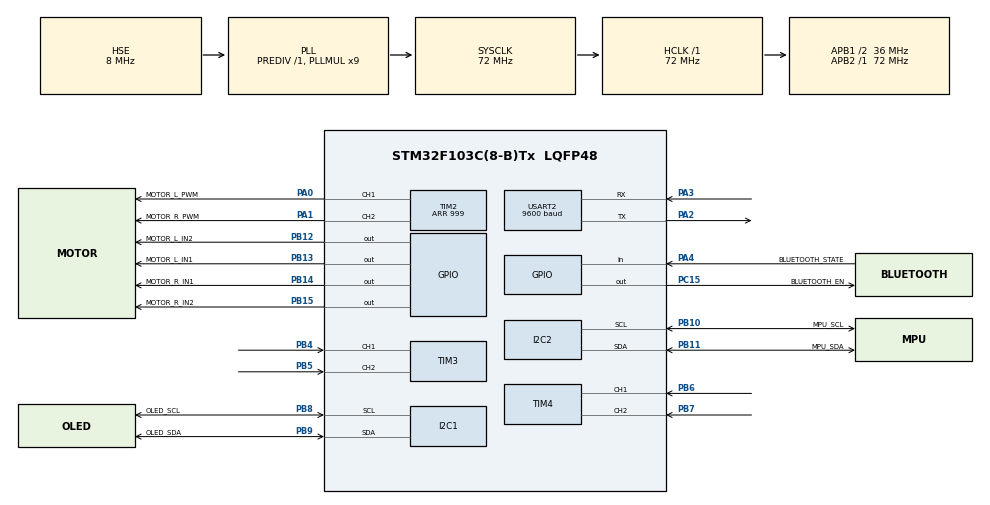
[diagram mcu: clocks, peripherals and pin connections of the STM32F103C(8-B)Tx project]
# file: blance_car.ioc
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I2C1.I2C_Mode=I2C_Fast
I2C2.I2C_Mode=I2C_Fast
Mcu.Family=STM32F1
Mcu.Name=STM32F103C(8-B)Tx
Mcu.Package=LQFP48
NVIC.PriorityGroup=NVIC_PRIORITYGROUP_4
NVIC.TIM1_UP_IRQn=true\:2\:0\:true\:false\:true\:true\:true\:true
NVIC.USART2_IRQn=true\:0\:0\:false\:false\:true\:true\:true\:true
PA0-WKUP.GPIO_Label=MOTOR_L_PWM
PA0-WKUP.Signal=S_TIM2_CH1_ETR
PA1.GPIO_Label=MOTOR_R_PWM
PA1.Signal=S_TIM2_CH2
PA13.Mode=Serial_Wire
PA13.Signal=SYS_JTMS-SWDIO
PA14.Mode=Serial_Wire
PA14.Signal=SYS_JTCK-SWCLK
PA2.Mode=Asynchronous
PA2.Signal=USART2_TX
PA3.Mode=Asynchronous
PA3.Signal=USART2_RX
PA4.GPIO_Label=BLUETOOTH_STATE
PA4.Signal=GPIO_Input
PB10.GPIO_Label=MPU_SCL
PB10.Mode=I2C
PB10.Signal=I2C2_SCL
PB11.GPIO_Label=MPU_SDA
PB11.Mode=I2C
PB11.Signal=I2C2_SDA
PB12.GPIO_Label=MOTOR_L_IN2
PB12.Signal=GPIO_Output
PB13.GPIO_Label=MOTOR_L_IN1
PB13.Signal=GPIO_Output
PB14.GPIO_Label=MOTOR_R_IN1
PB14.Signal=GPIO_Output
PB15.GPIO_Label=MOTOR_R_IN2
PB15.Signal=GPIO_Output
PB4.Signal=S_TIM3_CH1
PB5.Signal=S_TIM3_CH2
PB6.Signal=S_TIM4_CH1
PB7.Signal=S_TIM4_CH2
PB8.GPIO_Label=OLED_SCL
PB8.Mode=I2C
PB8.Signal=I2C1_SCL
PB9.GPIO_Label=OLED_SDA
PB9.Mode=I2C
PB9.Signal=I2C1_SDA
PC15-OSC32_OUT.GPIO_Label=BLUETOOTH_EN
PC15-OSC32_OUT.Signal=GPIO_Output
PD0-OSC_IN.Mode=HSE-External-Oscillator
PD0-OSC_IN.Signal=RCC_OSC_IN
PD1-OSC_OUT.Mode=HSE-External-Oscillator
PD1-OSC_OUT.Signal=RCC_OSC_OUT
ProjectManager.HeapSize=0x200
ProjectManager.StackSize=0x400
ProjectManager.TargetToolchain=CMake
RCC.AHBFreq_Value=72000000
RCC.APB1CLKDivider=RCC_HCLK_DIV2
RCC.APB1Freq_Value=36000000
RCC.APB1TimFreq_Value=72000000
RCC.APB2Freq_Value=72000000
RCC.APB2TimFreq_Value=72000000
RCC.HCLKFreq_Value=72000000
RCC.PLLMUL=RCC_PLL_MUL9
RCC.PLLSourceVirtual=RCC_PLLSOURCE_HSE
RCC.SYSCLKFreq_VALUE=72000000
RCC.SYSCLKSource=RCC_SYSCLKSOURCE_PLLCLK
RCC.USBFreq_Value=72000000
SH.S_TIM2_CH1_ETR.0=TIM2_CH1,PWM Generation1 CH1
SH.S_TIM2_CH2.0=TIM2_CH2,PWM Generation2 CH2
SH.S_TIM3_CH1.0=TIM3_CH1,Encoder_Interface
SH.S_TIM3_CH2.0=TIM3_CH2,Encoder_Interface
SH.S_TIM4_CH1.0=TIM4_CH1,Encoder_Interface
SH.S_TIM4_CH2.0=TIM4_CH2,Encoder_Interface
TIM1.Period=4999
TIM1.Prescaler=71
TIM2.Channel-PWM\ Generation1\ CH1=TIM_CHANNEL_1
TIM2.Channel-PWM\ Generation2\ CH2=TIM_CHANNEL_2
TIM2.OC2Preload_PWM=ENABLE
TIM2.OCFastMode_PWM-PWM\ Generation1\ CH1=TIM_OCFAST_DISABLE
TIM2.Period=999
TIM3.EncoderMode=TIM_ENCODERMODE_TI12
TIM4.EncoderMode=TIM_ENCODERMODE_TI12
USART2.BaudRate=9600
USART2.VirtualMode=VM_ASYNC
VP_TIM1_VS_ClockSourceINT.Mode=Internal
board=custom

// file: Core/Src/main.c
/* USER CODE BEGIN Header */
/**
  ******************************************************************************
  * @file           : main.c
  * @brief          : Main program body
  ******************************************************************************
  * @attention
  *
  * Copyright (c) 2026 STMicroelectronics.
  * All rights reserved.
  *
  * This software is licensed under terms that can be found in the LICENSE file
  * in the root directory of this software component.
  * If no LICENSE file comes with this software, it is provided AS-IS.
  *
  ******************************************************************************
  */
/* USER CODE END Header */
#include "main.h"
#include "i2c.h"
#include "tim.h"
#include "usart.h"
#include "gpio.h"

/* USER CODE BEGIN Includes */
#include "oled.h"
#include <stdio.h>
#include <Motor.h>
#include "mpu6050.h"
#include "APP_oled.h"
#include "control.h"
#include "encoder.h"
#include "bluetooth.h"
#include "APP_bluetooth.h"
#include "pid.h"

/* USER CODE END Includes */

/* USER CODE BEGIN PV */
// volatile  MPU6050_Data_t mpu;
/* USER CODE END PV */

void SystemClock_Config(void);

int main(void)
{

  /* MCU Configuration--------------------------------------------------------*/

  /* Reset of all peripherals, Initializes the Flash interface and the Systick. */
   HAL_Init();

  /* Configure the system clock */
  SystemClock_Config();

  /* Initialize all configured peripherals */
  MX_GPIO_Init();
  MX_I2C1_Init();
  MX_I2C2_Init();
  MX_TIM2_Init();
  MX_TIM1_Init();
  MX_TIM3_Init();
  MX_TIM4_Init();
  MX_USART2_UART_Init();
  /* USER CODE BEGIN 2 */
  OLED_Init();
  OLED_Clear();
  MPU6050_Init();
  Motor_Init();
  Encoder_Init();
  PID_InitAll();
  Bluetooth_Init();
  BT_APP_Init();

  HAL_TIM_Base_Start_IT(&htim1);  // 启动5ms定时器

  /* USER CODE END 2 */

  /* Infinite loop */
  /* USER CODE BEGIN WHILE */
  while (1)
  {
    if(control_flag)
    {
      control_flag = 0;

      Control_Task();
    }
    OLED_Proc();

    /* USER CODE END WHILE */

  }
}

void SystemClock_Config(void)
{
  RCC_OscInitTypeDef RCC_OscInitStruct = {0};
  RCC_ClkInitTypeDef RCC_ClkInitStruct = {0};

  /** Initializes the RCC Oscillators according to the specified parameters
  * in the RCC_OscInitTypeDef structure.
  */
  RCC_OscInitStruct.OscillatorType = RCC_OSCILLATORTYPE_HSE;
  RCC_OscInitStruct.HSEState = RCC_HSE_ON;
  RCC_OscInitStruct.HSEPredivValue = RCC_HSE_PREDIV_DIV1;
  RCC_OscInitStruct.HSIState = RCC_HSI_ON;
  RCC_OscInitStruct.PLL.PLLState = RCC_PLL_ON;
  RCC_OscInitStruct.PLL.PLLSource = RCC_PLLSOURCE_HSE;
  RCC_OscInitStruct.PLL.PLLMUL = RCC_PLL_MUL9;
  if (HAL_RCC_OscConfig(&RCC_OscInitStruct) != HAL_OK)
  {
    Error_Handler();
  }

  /** Initializes the CPU, AHB and APB buses clocks
  */
  RCC_ClkInitStruct.ClockType = RCC_CLOCKTYPE_HCLK|RCC_CLOCKTYPE_SYSCLK
                              |RCC_CLOCKTYPE_PCLK1|RCC_CLOCKTYPE_PCLK2;
  RCC_ClkInitStruct.SYSCLKSource = RCC_SYSCLKSOURCE_PLLCLK;
  RCC_ClkInitStruct.AHBCLKDivider = RCC_SYSCLK_DIV1;
  RCC_ClkInitStruct.APB1CLKDivider = RCC_HCLK_DIV2;
  RCC_ClkInitStruct.APB2CLKDivider = RCC_HCLK_DIV1;

  if (HAL_RCC_ClockConfig(&RCC_ClkInitStruct, FLASH_LATENCY_2) != HAL_OK)
  {
    Error_Handler();
  }
}

void Error_Handler(void)
{
  __disable_irq();
  while (1)
  {
  }
}
